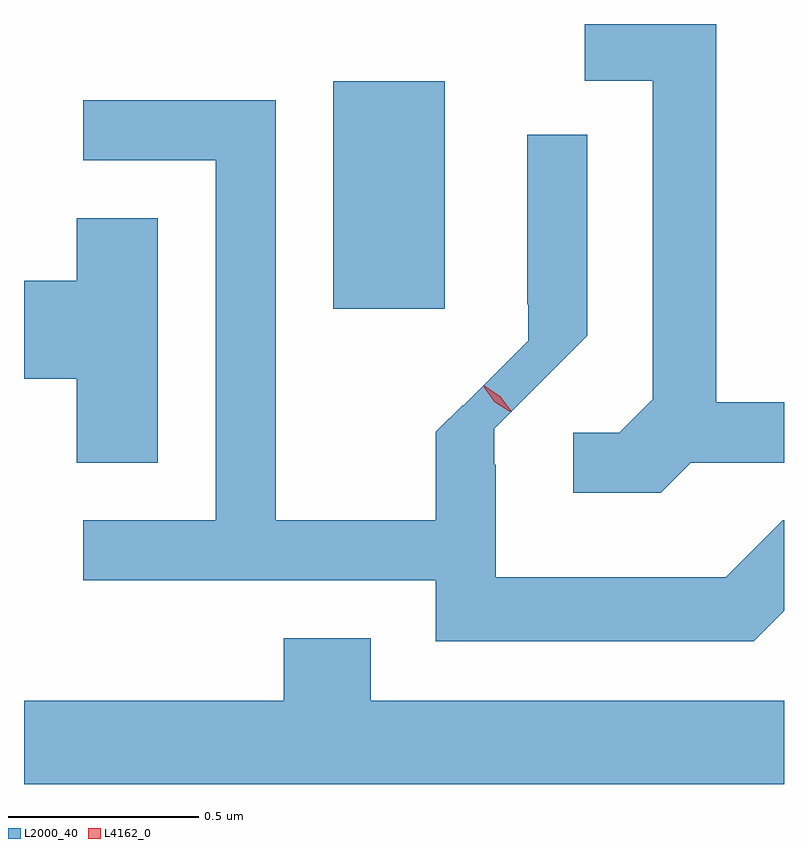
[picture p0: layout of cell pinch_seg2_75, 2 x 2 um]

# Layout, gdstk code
import gdstk
lib = gdstk.Library(unit=1e-6, precision=1e-09)
def R(c, l, rs):  # rectangles x0, y0, x1, y1
    for r in rs: c.add(gdstk.rectangle(r[:2], r[2:], *l))
def P(c, l, *ps):  # polygons
    for p in ps: c.add(gdstk.Polygon(p, *l))
L2000_40 = (2000, 40)
L4162_0 = (4162, 0)

pinch_seg2_75 = lib.new_cell('pinch_seg2_75')
R(pinch_seg2_75, L2000_40, [(1121.361,1031.856,1121.654,1032.454)])
P(pinch_seg2_75, L2000_40, [(1122.302,1031.451),(1122.547,1031.451),(1122.547,1031.609),(1122.369,1031.609),(1122.369,1032.605),(1122.023,1032.605),(1122.023,1032.456),(1122.201,1032.456),(1122.201,1031.617),(1122.114,1031.529),(1121.993,1031.529),(1121.993,1031.371),(1122.222,1031.371)],
  [(1122.547,1031.061),(1122.547,1031.299),(1122.544,1031.299),(1122.394,1031.149),(1121.789,1031.149),(1121.789,1031.445),(1121.785,1031.445),(1121.785,1031.54),(1122.029,1031.784),(1122.029,1032.313),(1121.871,1032.313),(1121.871,1031.867),(1121.874,1031.867),(1121.874,1031.772),(1121.703,1031.601),(1121.701,1031.602),(1121.631,1031.532),(1121.631,1031.299),(1121.209,1031.299),(1121.209,1032.404),(1120.703,1032.404),(1120.703,1032.246),(1121.051,1032.246),(1121.051,1031.299),(1120.703,1031.299),(1120.703,1031.141),(1121.631,1031.141),(1121.631,1030.981),(1122.467,1030.981)],
  [(1120.899,1032.094),(1120.686,1032.094),(1120.686,1031.929),(1120.547,1031.929),(1120.547,1031.671),(1120.686,1031.671),(1120.686,1031.451),(1120.899,1031.451)],
  [(1122.547,1030.824),(1121.459,1030.824),(1121.459,1030.989),(1121.231,1030.989),(1121.231,1030.824),(1120.547,1030.824),(1120.547,1030.605),(1122.547,1030.605)])
P(pinch_seg2_75, L4162_0, [(1121.829,1031.584),(1121.787,1031.611),(1121.757,1031.652),(1121.757,1031.653),(1121.758,1031.653),(1121.8,1031.626),(1121.83,1031.585),(1121.83,1031.584)],
  [(1121.824,1031.586),(1121.786,1031.61),(1121.76,1031.647),(1121.76,1031.648),(1121.76,1031.648),(1121.799,1031.624),(1121.825,1031.587),(1121.825,1031.586)])

lib.write_gds('pinch_seg2_75.gds')
